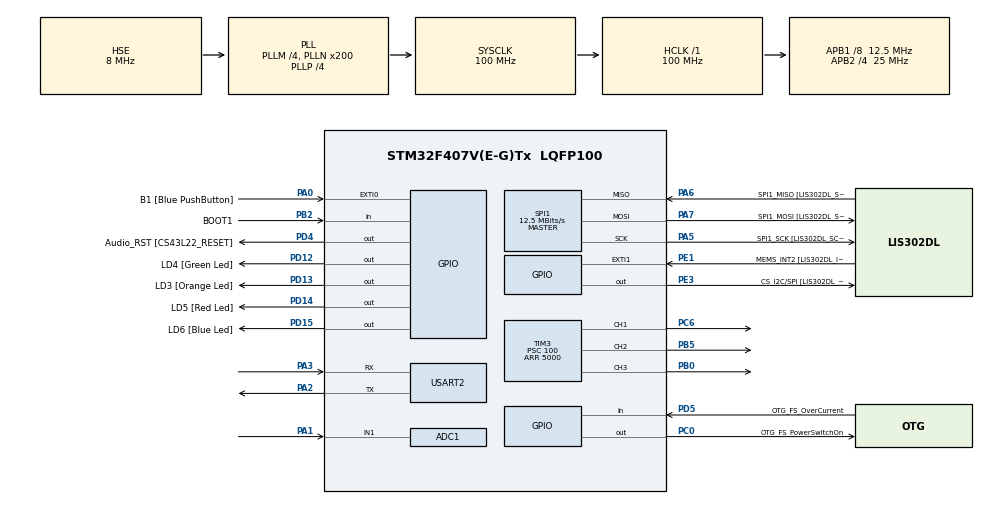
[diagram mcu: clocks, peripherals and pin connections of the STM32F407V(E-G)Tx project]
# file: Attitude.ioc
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ADC1.Channel-0\#ChannelRegularConversion=ADC_CHANNEL_1
ADC1.ClockPrescaler=ADC_CLOCK_SYNC_PCLK_DIV2
ADC1.ContinuousConvMode=DISABLE
ADC1.DMAContinuousRequests=DISABLE
ADC1.DataAlign=ADC_DATAALIGN_RIGHT
ADC1.DiscontinuousConvMode=DISABLE
ADC1.EOCSelection=ADC_EOC_SINGLE_CONV
ADC1.EnableAnalogWatchDog=false
ADC1.ExternalTrigConv=ADC_SOFTWARE_START
ADC1.ExternalTrigConvEdge=ADC_EXTERNALTRIGCONVEDGE_NONE
ADC1.InjNumberOfConversion=0
ADC1.NbrOfConversion=1
ADC1.NbrOfConversionFlag=1
ADC1.Rank-0\#ChannelRegularConversion=1
ADC1.Resolution=ADC_RESOLUTION_12B
ADC1.SamplingTime-0\#ChannelRegularConversion=ADC_SAMPLETIME_3CYCLES
ADC1.ScanConvMode=DISABLE
ADC1.master=1
FREERTOS.Tasks01=ReadSensor,2,1024,ReadSensorLoop,Default,NULL,Dynamic,NULL,NULL;AttitudeCal,1,1024,AttitudeCalLoop,Default,NULL,Dynamic,NULL,NULL;PrintData,-2,1024,PrintDataLoop,Default,NULL,Dynamic,NULL,NULL
Mcu.Family=STM32F4
Mcu.Name=STM32F407V(E-G)Tx
Mcu.Package=LQFP100
NVIC.PriorityGroup=NVIC_PRIORITYGROUP_4
PA0-WKUP.GPIO_Label=B1 [Blue PushButton]
PA0-WKUP.GPIO_ModeDefaultEXTI=GPIO_MODE_EVT_RISING
PA0-WKUP.GPIO_PuPd=GPIO_NOPULL
PA0-WKUP.Signal=GPXTI0
PA1.Signal=ADCx_IN1
PA10.GPIO_Label=OTG_FS_ID
PA10.GPIO_Mode=GPIO_MODE_AF_PP
PA10.GPIO_PuPd=GPIO_NOPULL
PA10.GPIO_Speed=GPIO_SPEED_FREQ_LOW
PA10.Signal=USB_OTG_FS_ID
PA11.GPIO_Label=OTG_FS_DM
PA11.GPIO_Mode=GPIO_MODE_AF_PP
PA11.GPIO_PuPd=GPIO_NOPULL
PA11.GPIO_Speed=GPIO_SPEED_FREQ_LOW
PA11.Signal=USB_OTG_FS_DM
PA12.GPIO_Label=OTG_FS_DP
PA12.GPIO_Mode=GPIO_MODE_AF_PP
PA12.GPIO_PuPd=GPIO_NOPULL
PA12.GPIO_Speed=GPIO_SPEED_FREQ_LOW
PA12.Signal=USB_OTG_FS_DP
PA13.GPIO_Label=SWDIO
PA13.Mode=Serial_Wire
PA13.Signal=SYS_JTMS-SWDIO
PA14.GPIO_Label=SWCLK
PA14.Mode=Serial_Wire
PA14.Signal=SYS_JTCK-SWCLK
PA2.Mode=Asynchronous
PA2.Signal=USART2_TX
PA3.Mode=Asynchronous
PA3.Signal=USART2_RX
PA4.GPIO_Label=I2S3_WS [CS43L22_LRCK]
PA4.GPIO_Mode=GPIO_MODE_AF_PP
PA4.GPIO_PuPd=GPIO_NOPULL
PA4.GPIO_Speed=GPIO_SPEED_FREQ_LOW
PA4.Signal=I2S3_WS
PA5.GPIO_Label=SPI1_SCK [LIS302DL_SCL/SPC]
PA5.GPIO_Mode=GPIO_MODE_AF_PP
PA5.GPIO_PuPd=GPIO_NOPULL
PA5.GPIO_Speed=GPIO_SPEED_FREQ_LOW
PA5.Mode=Full_Duplex_Master
PA5.Signal=SPI1_SCK
PA6.GPIO_Label=SPI1_MISO [LIS302DL_SDO]
PA6.GPIO_Mode=GPIO_MODE_AF_PP
PA6.GPIO_PuPd=GPIO_NOPULL
PA6.GPIO_Speed=GPIO_SPEED_FREQ_LOW
PA6.Mode=Full_Duplex_Master
PA6.Signal=SPI1_MISO
PA7.GPIO_Label=SPI1_MOSI [LIS302DL_SDA/SDI/SDO]
PA7.GPIO_Mode=GPIO_MODE_AF_PP
PA7.GPIO_PuPd=GPIO_NOPULL
PA7.GPIO_Speed=GPIO_SPEED_FREQ_LOW
PA7.Mode=Full_Duplex_Master
PA7.Signal=SPI1_MOSI
PA9.GPIO_Label=VBUS_FS
PA9.GPIO_Mode=GPIO_MODE_INPUT
PA9.GPIO_PuPd=GPIO_NOPULL
PA9.Signal=USB_OTG_FS_VBUS
PB0.Signal=S_TIM3_CH3
PB10.GPIO_Label=CLK_IN [MP45DT02_CLK]
PB10.GPIO_Mode=GPIO_MODE_AF_PP
PB10.GPIO_PuPd=GPIO_NOPULL
PB10.GPIO_Speed=GPIO_SPEED_FREQ_LOW
PB10.Signal=I2S2_CK
PB2.GPIO_Label=BOOT1
PB2.GPIO_Mode=GPIO_MODE_INPUT
PB2.GPIO_PuPd=GPIO_NOPULL
PB2.Signal=GPIO_Input
PB3.GPIO_Label=SWO
PB3.Signal=SYS_JTDO-SWO
PB5.Signal=S_TIM3_CH2
PC0.GPIO_Label=OTG_FS_PowerSwitchOn
PC0.GPIO_PuPd=GPIO_NOPULL
PC0.GPIO_Speed=GPIO_SPEED_FREQ_LOW
PC0.PinState=GPIO_PIN_SET
PC0.Signal=GPIO_Output
PC10.GPIO_Label=I2S3_SCK [CS43L22_SCLK]
PC10.GPIO_Mode=GPIO_MODE_AF_PP
PC10.GPIO_PuPd=GPIO_NOPULL
PC10.GPIO_Speed=GPIO_SPEED_FREQ_LOW
PC10.Signal=I2S3_CK
PC12.GPIO_Label=I2S3_SD [CS43L22_SDIN]
PC12.GPIO_Mode=GPIO_MODE_AF_PP
PC12.GPIO_PuPd=GPIO_NOPULL
PC12.GPIO_Speed=GPIO_SPEED_FREQ_LOW
PC12.Signal=I2S3_SD
PC14-OSC32_IN.GPIO_Label=PC14-OSC32_IN
PC14-OSC32_IN.Signal=RCC_OSC32_IN
PC15-OSC32_OUT.GPIO_Label=PC15-OSC32_OUT
PC15-OSC32_OUT.Signal=RCC_OSC32_OUT
PC3.GPIO_Label=PDM_OUT [MP45DT02_DOUT]
PC3.GPIO_Mode=GPIO_MODE_AF_PP
PC3.GPIO_PuPd=GPIO_NOPULL
PC3.GPIO_Speed=GPIO_SPEED_FREQ_LOW
PC3.Signal=I2S2_SD
PC6.Signal=S_TIM3_CH1
PC7.GPIO_Label=I2S3_MCK [CS43L22_MCLK]
PC7.GPIO_Mode=GPIO_MODE_AF_PP
PC7.GPIO_PuPd=GPIO_NOPULL
PC7.GPIO_Speed=GPIO_SPEED_FREQ_LOW
PC7.Signal=I2S3_MCK
PD12.GPIO_Label=LD4 [Green Led]
PD12.GPIO_PuPd=GPIO_NOPULL
PD12.GPIO_Speed=GPIO_SPEED_FREQ_LOW
PD12.Signal=GPIO_Output
PD13.GPIO_Label=LD3 [Orange Led]
PD13.GPIO_PuPd=GPIO_NOPULL
PD13.GPIO_Speed=GPIO_SPEED_FREQ_LOW
PD13.Signal=GPIO_Output
PD14.GPIO_Label=LD5 [Red Led]
PD14.GPIO_PuPd=GPIO_NOPULL
PD14.GPIO_Speed=GPIO_SPEED_FREQ_LOW
PD14.Signal=GPIO_Output
PD15.GPIO_Label=LD6 [Blue Led]
PD15.GPIO_PuPd=GPIO_NOPULL
PD15.GPIO_Speed=GPIO_SPEED_FREQ_LOW
PD15.Signal=GPIO_Output
PD4.GPIO_Label=Audio_RST [CS43L22_RESET]
PD4.GPIO_PuPd=GPIO_NOPULL
PD4.GPIO_Speed=GPIO_SPEED_FREQ_LOW
PD4.Signal=GPIO_Output
PD5.GPIO_Label=OTG_FS_OverCurrent
PD5.GPIO_Mode=GPIO_MODE_INPUT
PD5.GPIO_PuPd=GPIO_NOPULL
PD5.Signal=GPIO_Input
PE1.GPIO_Label=MEMS_INT2 [LIS302DL_INT2]
PE1.GPIO_ModeDefaultEXTI=GPIO_MODE_EVT_RISING
PE1.GPIO_PuPd=GPIO_NOPULL
PE1.Signal=GPXTI1
PE3.GPIO_Label=CS_I2C/SPI [LIS302DL_CS_I2C/SPI]
PE3.GPIO_PuPd=GPIO_NOPULL
PE3.GPIO_Speed=GPIO_SPEED_FREQ_LOW
PE3.Signal=GPIO_Output
PH0-OSC_IN.GPIO_Label=PH0-OSC_IN
PH0-OSC_IN.Mode=HSE-External-Oscillator
PH0-OSC_IN.Signal=RCC_OSC_IN
PH1-OSC_OUT.GPIO_Label=PH1-OSC_OUT
PH1-OSC_OUT.Mode=HSE-External-Oscillator
PH1-OSC_OUT.Signal=RCC_OSC_OUT
ProjectManager.HeapSize=0x200
ProjectManager.StackSize=0x400
ProjectManager.TargetToolchain=SW4STM32
RCC.48MHZClocksFreq_Value=57142857.14285714
RCC.AHBFreq_Value=100000000
RCC.APB1CLKDivider=RCC_HCLK_DIV8
RCC.APB1Freq_Value=12500000
RCC.APB1TimFreq_Value=25000000
RCC.APB2CLKDivider=RCC_HCLK_DIV4
RCC.APB2Freq_Value=25000000
RCC.APB2TimFreq_Value=50000000
RCC.CortexFreq_Value=100000000
RCC.HCLKFreq_Value=100000000
RCC.HSE_VALUE=8000000
RCC.HSI_VALUE=16000000
RCC.LSE_VALUE=32768
RCC.PLLM=4
RCC.PLLN=200
RCC.PLLP=RCC_PLLP_DIV4
RCC.PLLQ=7
RCC.PLLSourceVirtual=RCC_PLLSOURCE_HSE
RCC.SYSCLKFreq_VALUE=100000000
RCC.SYSCLKSource=RCC_SYSCLKSOURCE_PLLCLK
RCC.VCOOutputFreq_Value=400000000
SH.ADCx_IN1.0=ADC1_IN1,IN1
SH.S_TIM3_CH1.0=TIM3_CH1,PWM Generation1 CH1
SH.S_TIM3_CH2.0=TIM3_CH2,PWM Generation2 CH2
SH.S_TIM3_CH3.0=TIM3_CH3,PWM Generation3 CH3
SPI1.CalculateBaudRate=12.5 MBits/s
SPI1.Direction=SPI_DIRECTION_2LINES
SPI1.Mode=SPI_MODE_MASTER
SPI1.VirtualType=VM_MASTER
TIM3.Channel-PWM\ Generation1\ CH1=TIM_CHANNEL_1
TIM3.Channel-PWM\ Generation2\ CH2=TIM_CHANNEL_2
TIM3.Channel-PWM\ Generation3\ CH3=TIM_CHANNEL_3
TIM3.Period=5000
TIM3.Prescaler=100
TIM3.Pulse-PWM\ Generation1\ CH1=100
TIM3.Pulse-PWM\ Generation2\ CH2=100
TIM3.Pulse-PWM\ Generation3\ CH3=1000
USART2.VirtualMode=VM_ASYNC
VP_FREERTOS_VS_ENABLE.Mode=Enabled
VP_TIM3_VS_ClockSourceINT.Mode=Internal
board=STM32F4DISCOVERY

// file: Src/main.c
/**
  ******************************************************************************
  * File Name          : main.c
  * Description        : Main program body
  ******************************************************************************
  *
  * Copyright (c) 2017 STMicroelectronics International N.V.
  * All rights reserved.
  *
  * Redistribution and use in source and binary forms, with or without
  * modification, are permitted, provided that the following conditions are met:
  *
  * 1. Redistribution of source code must retain the above copyright notice,
  *    this list of conditions and the following disclaimer.
  * 2. Redistributions in binary form must reproduce the above copyright notice,
  *    this list of conditions and the following disclaimer in the documentation
  *    and/or other materials provided with the distribution.
  * 3. Neither the name of STMicroelectronics nor the names of other
  *    contributors to this software may be used to endorse or promote products
  *    derived from this software without specific written permission.
  * 4. This software, including modifications and/or derivative works of this
  *    software, must execute solely and exclusively on microcontroller or
  *    microprocessor devices manufactured by or for STMicroelectronics.
  * 5. Redistribution and use of this software other than as permitted under
  *    this license is void and will automatically terminate your rights under
  *    this license.
  *
  * THIS SOFTWARE IS PROVIDED BY STMICROELECTRONICS AND CONTRIBUTORS "AS IS"
  * AND ANY EXPRESS, IMPLIED OR STATUTORY WARRANTIES, INCLUDING, BUT NOT
  * LIMITED TO, THE IMPLIED WARRANTIES OF MERCHANTABILITY, FITNESS FOR A
  * PARTICULAR PURPOSE AND NON-INFRINGEMENT OF THIRD PARTY INTELLECTUAL PROPERTY
  * RIGHTS ARE DISCLAIMED TO THE FULLEST EXTENT PERMITTED BY LAW. IN NO EVENT
  * SHALL STMICROELECTRONICS OR CONTRIBUTORS BE LIABLE FOR ANY DIRECT, INDIRECT,
  * INCIDENTAL, SPECIAL, EXEMPLARY, OR CONSEQUENTIAL DAMAGES (INCLUDING, BUT NOT
  * LIMITED TO, PROCUREMENT OF SUBSTITUTE GOODS OR SERVICES; LOSS OF USE, DATA,
  * OR PROFITS; OR BUSINESS INTERRUPTION) HOWEVER CAUSED AND ON ANY THEORY OF
  * LIABILITY, WHETHER IN CONTRACT, STRICT LIABILITY, OR TORT (INCLUDING
  * NEGLIGENCE OR OTHERWISE) ARISING IN ANY WAY OUT OF THE USE OF THIS SOFTWARE,
  * EVEN IF ADVISED OF THE POSSIBILITY OF SUCH DAMAGE.
  *
  ******************************************************************************
  */
#include "main.h"
#include "stm32f4xx_hal.h"
#include "cmsis_os.h"

/* USER CODE BEGIN Includes */
#include <string.h>
#include <stdio.h>
#include <math.h>
#include "matrix.h"
#include "I2C_Software_Master.h"
/* USER CODE END Includes */

ADC_HandleTypeDef hadc1;

SPI_HandleTypeDef hspi1;

TIM_HandleTypeDef htim3;

UART_HandleTypeDef huart2;

osThreadId ReadSensorHandle;
osThreadId AttitudeCalHandle;
osThreadId PrintDataHandle;

/* USER CODE BEGIN PV */
/* Private variables ---------------------------------------------------------*/

/* USER CODE END PV */

void SystemClock_Config(void);
void Error_Handler(void);
static void MX_GPIO_Init(void);
static void MX_SPI1_Init(void);
static void MX_USART2_UART_Init(void);
static void MX_ADC1_Init(void);
static void MX_TIM3_Init(void);
void ReadSensorLoop(void const * argument);
void AttitudeCalLoop(void const * argument);
void PrintDataLoop(void const * argument);

void HAL_TIM_MspPostInit(TIM_HandleTypeDef *htim);

/* USER CODE BEGIN PFP */
/* Private function prototypes -----------------------------------------------*/

/* USER CODE END PFP */

/* USER CODE BEGIN 0 */
void GyroInit();
void GyroWriteOne(uint8_t address, uint8_t data);
void GyroReadData(uint8_t address, int readAmount, uint8_t *databuf);
void AccInit();
void user_pwm_setvalue(uint16_t value, uint32_t ch);

int8_t u2txbuf[100];
#define print2UART(...) sprintf(u2txbuf, __VA_ARGS__);HAL_UART_Transmit(&huart2, u2txbuf, strlen((char *)u2txbuf), 1000);
#define AccAddress 0x32

char DataIsReady = 0;
uint8_t GyroRawData[6], AccRawData[6];
int16_t GyroOffset[3]={0},AccOffset[3]={0};
uint32_t time_s,time;
float Roll=.0f, Pitch=.0f, Yaw=.0f;
Matrix(GyroDCM,3,3);
Matrix(AccDCM,3,3);
typedef union _f2b{
	float F;
	uint8_t b[4];
}F2B;
/* USER CODE END 0 */

int main(void)
{

  /* MCU Configuration----------------------------------------------------------*/

  /* Reset of all peripherals, Initializes the Flash interface and the Systick. */
  HAL_Init();

  /* Configure the system clock */
  SystemClock_Config();

  /* Initialize all configured peripherals */
  MX_GPIO_Init();
  MX_SPI1_Init();
  MX_USART2_UART_Init();
  MX_ADC1_Init();
  MX_TIM3_Init();

  /* USER CODE BEGIN 2 */
  I2C_SoftWare_Master_Init();
  HAL_GPIO_WritePin(GPIOD, LD4_Pin, GPIO_PIN_RESET);
  HAL_Delay(500);
  GyroInit();
  AccInit();
  eye_Matrix(GyroDCM, 3);
  HAL_GPIO_WritePin(GPIOD, LD4_Pin, GPIO_PIN_SET);
  /* USER CODE END 2 */

  /* Create the thread(s) */
  /* definition and creation of ReadSensor */
  osThreadDef(ReadSensor, ReadSensorLoop, osPriorityHigh, 0, 1024);
  ReadSensorHandle = osThreadCreate(osThread(ReadSensor), NULL);

  /* definition and creation of AttitudeCal */
  osThreadDef(AttitudeCal, AttitudeCalLoop, osPriorityAboveNormal, 0, 1024);
  AttitudeCalHandle = osThreadCreate(osThread(AttitudeCal), NULL);

  /* definition and creation of PrintData */
  osThreadDef(PrintData, PrintDataLoop, osPriorityLow, 0, 1024);
  PrintDataHandle = osThreadCreate(osThread(PrintData), NULL);

  /* Start scheduler */
  osKernelStart();

  /* We should never get here as control is now taken by the scheduler */

  /* Infinite loop */
  while (1)
  {

  }

}

/** System Clock Configuration
*/
void SystemClock_Config(void)
{

  RCC_OscInitTypeDef RCC_OscInitStruct;
  RCC_ClkInitTypeDef RCC_ClkInitStruct;

    /**Configure the main internal regulator output voltage
    */
  __HAL_RCC_PWR_CLK_ENABLE();

  __HAL_PWR_VOLTAGESCALING_CONFIG(PWR_REGULATOR_VOLTAGE_SCALE1);

    /**Initializes the CPU, AHB and APB busses clocks
    */
  RCC_OscInitStruct.OscillatorType = RCC_OSCILLATORTYPE_HSE;
  RCC_OscInitStruct.HSEState = RCC_HSE_ON;
  RCC_OscInitStruct.PLL.PLLState = RCC_PLL_ON;
  RCC_OscInitStruct.PLL.PLLSource = RCC_PLLSOURCE_HSE;
  RCC_OscInitStruct.PLL.PLLM = 4;
  RCC_OscInitStruct.PLL.PLLN = 200;
  RCC_OscInitStruct.PLL.PLLP = RCC_PLLP_DIV4;
  RCC_OscInitStruct.PLL.PLLQ = 7;
  if (HAL_RCC_OscConfig(&RCC_OscInitStruct) != HAL_OK)
  {
    Error_Handler();
  }

    /**Initializes the CPU, AHB and APB busses clocks
    */
  RCC_ClkInitStruct.ClockType = RCC_CLOCKTYPE_HCLK|RCC_CLOCKTYPE_SYSCLK
                              |RCC_CLOCKTYPE_PCLK1|RCC_CLOCKTYPE_PCLK2;
  RCC_ClkInitStruct.SYSCLKSource = RCC_SYSCLKSOURCE_PLLCLK;
  RCC_ClkInitStruct.AHBCLKDivider = RCC_SYSCLK_DIV1;
  RCC_ClkInitStruct.APB1CLKDivider = RCC_HCLK_DIV8;
  RCC_ClkInitStruct.APB2CLKDivider = RCC_HCLK_DIV4;

  if (HAL_RCC_ClockConfig(&RCC_ClkInitStruct, FLASH_LATENCY_3) != HAL_OK)
  {
    Error_Handler();
  }

    /**Configure the Systick interrupt time
    */
  HAL_SYSTICK_Config(HAL_RCC_GetHCLKFreq()/1000);

    /**Configure the Systick
    */
  HAL_SYSTICK_CLKSourceConfig(SYSTICK_CLKSOURCE_HCLK);

  /* SysTick_IRQn interrupt configuration */
  HAL_NVIC_SetPriority(SysTick_IRQn, 15, 0);
}

/* ADC1 init function */
static void MX_ADC1_Init(void)
{

  ADC_ChannelConfTypeDef sConfig;

    /**Configure the global features of the ADC (Clock, Resolution, Data Alignment and number of conversion)
    */
  hadc1.Instance = ADC1;
  hadc1.Init.ClockPrescaler = ADC_CLOCK_SYNC_PCLK_DIV2;
  hadc1.Init.Resolution = ADC_RESOLUTION_12B;
  hadc1.Init.ScanConvMode = DISABLE;
  hadc1.Init.ContinuousConvMode = DISABLE;
  hadc1.Init.DiscontinuousConvMode = DISABLE;
  hadc1.Init.ExternalTrigConvEdge = ADC_EXTERNALTRIGCONVEDGE_NONE;
  hadc1.Init.ExternalTrigConv = ADC_SOFTWARE_START;
  hadc1.Init.DataAlign = ADC_DATAALIGN_RIGHT;
  hadc1.Init.NbrOfConversion = 1;
  hadc1.Init.DMAContinuousRequests = DISABLE;
  hadc1.Init.EOCSelection = ADC_EOC_SINGLE_CONV;
  if (HAL_ADC_Init(&hadc1) != HAL_OK)
  {
    Error_Handler();
  }

    /**Configure for the selected ADC regular channel its corresponding rank in the sequencer and its sample time.
    */
  sConfig.Channel = ADC_CHANNEL_1;
  sConfig.Rank = 1;
  sConfig.SamplingTime = ADC_SAMPLETIME_3CYCLES;
  if (HAL_ADC_ConfigChannel(&hadc1, &sConfig) != HAL_OK)
  {
    Error_Handler();
  }

}

/* SPI1 init function */
static void MX_SPI1_Init(void)
{

  hspi1.Instance = SPI1;
  hspi1.Init.Mode = SPI_MODE_MASTER;
  hspi1.Init.Direction = SPI_DIRECTION_2LINES;
  hspi1.Init.DataSize = SPI_DATASIZE_8BIT;
  hspi1.Init.CLKPolarity = SPI_POLARITY_LOW;
  hspi1.Init.CLKPhase = SPI_PHASE_1EDGE;
  hspi1.Init.NSS = SPI_NSS_SOFT;
  hspi1.Init.BaudRatePrescaler = SPI_BAUDRATEPRESCALER_2;
  hspi1.Init.FirstBit = SPI_FIRSTBIT_MSB;
  hspi1.Init.TIMode = SPI_TIMODE_DISABLE;
  hspi1.Init.CRCCalculation = SPI_CRCCALCULATION_DISABLE;
  hspi1.Init.CRCPolynomial = 10;
  if (HAL_SPI_Init(&hspi1) != HAL_OK)
  {
    Error_Handler();
  }

}

/* TIM3 init function */
static void MX_TIM3_Init(void)
{

  TIM_ClockConfigTypeDef sClockSourceConfig;
  TIM_MasterConfigTypeDef sMasterConfig;
  TIM_OC_InitTypeDef sConfigOC;

  htim3.Instance = TIM3;
  htim3.Init.Prescaler = 100;
  htim3.Init.CounterMode = TIM_COUNTERMODE_UP;
  htim3.Init.Period = 5000;
  htim3.Init.ClockDivision = TIM_CLOCKDIVISION_DIV1;
  if (HAL_TIM_Base_Init(&htim3) != HAL_OK)
  {
    Error_Handler();
  }

  sClockSourceConfig.ClockSource = TIM_CLOCKSOURCE_INTERNAL;
  if (HAL_TIM_ConfigClockSource(&htim3, &sClockSourceConfig) != HAL_OK)
  {
    Error_Handler();
  }

  if (HAL_TIM_PWM_Init(&htim3) != HAL_OK)
  {
    Error_Handler();
  }

  sMasterConfig.MasterOutputTrigger = TIM_TRGO_RESET;
  sMasterConfig.MasterSlaveMode = TIM_MASTERSLAVEMODE_DISABLE;
  if (HAL_TIMEx_MasterConfigSynchronization(&htim3, &sMasterConfig) != HAL_OK)
  {
    Error_Handler();
  }

  sConfigOC.OCMode = TIM_OCMODE_PWM1;
  sConfigOC.Pulse = 1000;
  sConfigOC.OCPolarity = TIM_OCPOLARITY_HIGH;
  sConfigOC.OCFastMode = TIM_OCFAST_DISABLE;
  if (HAL_TIM_PWM_ConfigChannel(&htim3, &sConfigOC, TIM_CHANNEL_1) != HAL_OK)
  {
    Error_Handler();
  }

  sConfigOC.Pulse = 100;
  if (HAL_TIM_PWM_ConfigChannel(&htim3, &sConfigOC, TIM_CHANNEL_2) != HAL_OK)
  {
    Error_Handler();
  }

  sConfigOC.Pulse = 1000;
  if (HAL_TIM_PWM_ConfigChannel(&htim3, &sConfigOC, TIM_CHANNEL_3) != HAL_OK)
  {
    Error_Handler();
  }

  HAL_TIM_MspPostInit(&htim3);

}

/* USART2 init function */
static void MX_USART2_UART_Init(void)
{

  huart2.Instance = USART2;
  huart2.Init.BaudRate = 115200;
  huart2.Init.WordLength = UART_WORDLENGTH_8B;
  huart2.Init.StopBits = UART_STOPBITS_1;
  huart2.Init.Parity = UART_PARITY_NONE;
  huart2.Init.Mode = UART_MODE_TX_RX;
  huart2.Init.HwFlowCtl = UART_HWCONTROL_NONE;
  huart2.Init.OverSampling = UART_OVERSAMPLING_16;
  if (HAL_UART_Init(&huart2) != HAL_OK)
  {
    Error_Handler();
  }

}

/** Configure pins as
        * Analog
        * Input
        * Output
        * EVENT_OUT
        * EXTI
     PC3   ------> I2S2_SD
     PA4   ------> I2S3_WS
     PB10   ------> I2S2_CK
     PC7   ------> I2S3_MCK
     PA9   ------> USB_OTG_FS_VBUS
     PA10   ------> USB_OTG_FS_ID
     PA11   ------> USB_OTG_FS_DM
     PA12   ------> USB_OTG_FS_DP
     PC10   ------> I2S3_CK
     PC12   ------> I2S3_SD
*/
static void MX_GPIO_Init(void)
{

  GPIO_InitTypeDef GPIO_InitStruct;

  /* GPIO Ports Clock Enable */
  __HAL_RCC_GPIOE_CLK_ENABLE();
  __HAL_RCC_GPIOC_CLK_ENABLE();
  __HAL_RCC_GPIOH_CLK_ENABLE();
  __HAL_RCC_GPIOA_CLK_ENABLE();
  __HAL_RCC_GPIOB_CLK_ENABLE();
  __HAL_RCC_GPIOD_CLK_ENABLE();

  /*Configure GPIO pin Output Level */
  HAL_GPIO_WritePin(CS_I2C_SPI_GPIO_Port, CS_I2C_SPI_Pin, GPIO_PIN_RESET);

  /*Configure GPIO pin Output Level */
  HAL_GPIO_WritePin(OTG_FS_PowerSwitchOn_GPIO_Port, OTG_FS_PowerSwitchOn_Pin, GPIO_PIN_SET);

  /*Configure GPIO pin Output Level */
  HAL_GPIO_WritePin(GPIOD, LD4_Pin|LD3_Pin|LD5_Pin|LD6_Pin
                          |Audio_RST_Pin, GPIO_PIN_RESET);

  /*Configure GPIO pin : CS_I2C_SPI_Pin */
  GPIO_InitStruct.Pin = CS_I2C_SPI_Pin;
  GPIO_InitStruct.Mode = GPIO_MODE_OUTPUT_PP;
  GPIO_InitStruct.Pull = GPIO_NOPULL;
  GPIO_InitStruct.Speed = GPIO_SPEED_FREQ_LOW;
  HAL_GPIO_Init(CS_I2C_SPI_GPIO_Port, &GPIO_InitStruct);

  /*Configure GPIO pin : OTG_FS_PowerSwitchOn_Pin */
  GPIO_InitStruct.Pin = OTG_FS_PowerSwitchOn_Pin;
  GPIO_InitStruct.Mode = GPIO_MODE_OUTPUT_PP;
  GPIO_InitStruct.Pull = GPIO_NOPULL;
  GPIO_InitStruct.Speed = GPIO_SPEED_FREQ_LOW;
  HAL_GPIO_Init(OTG_FS_PowerSwitchOn_GPIO_Port, &GPIO_InitStruct);

  /*Configure GPIO pin : PDM_OUT_Pin */
  GPIO_InitStruct.Pin = PDM_OUT_Pin;
  GPIO_InitStruct.Mode = GPIO_MODE_AF_PP;
  GPIO_InitStruct.Pull = GPIO_NOPULL;
  GPIO_InitStruct.Speed = GPIO_SPEED_FREQ_LOW;
  GPIO_InitStruct.Alternate = GPIO_AF5_SPI2;
  HAL_GPIO_Init(PDM_OUT_GPIO_Port, &GPIO_InitStruct);

  /*Configure GPIO pin : B1_Pin */
  GPIO_InitStruct.Pin = B1_Pin;
  GPIO_InitStruct.Mode = GPIO_MODE_EVT_RISING;
  GPIO_InitStruct.Pull = GPIO_NOPULL;
  HAL_GPIO_Init(B1_GPIO_Port, &GPIO_InitStruct);

  /*Configure GPIO pin : I2S3_WS_Pin */
  GPIO_InitStruct.Pin = I2S3_WS_Pin;
  GPIO_InitStruct.Mode = GPIO_MODE_AF_PP;
  GPIO_InitStruct.Pull = GPIO_NOPULL;
  GPIO_InitStruct.Speed = GPIO_SPEED_FREQ_LOW;
  GPIO_InitStruct.Alternate = GPIO_AF6_SPI3;
  HAL_GPIO_Init(I2S3_WS_GPIO_Port, &GPIO_InitStruct);

  /*Configure GPIO pin : BOOT1_Pin */
  GPIO_InitStruct.Pin = BOOT1_Pin;
  GPIO_InitStruct.Mode = GPIO_MODE_INPUT;
  GPIO_InitStruct.Pull = GPIO_NOPULL;
  HAL_GPIO_Init(BOOT1_GPIO_Port, &GPIO_InitStruct);

  /*Configure GPIO pin : CLK_IN_Pin */
  GPIO_InitStruct.Pin = CLK_IN_Pin;
  GPIO_InitStruct.Mode = GPIO_MODE_AF_PP;
  GPIO_InitStruct.Pull = GPIO_NOPULL;
  GPIO_InitStruct.Speed = GPIO_SPEED_FREQ_LOW;
  GPIO_InitStruct.Alternate = GPIO_AF5_SPI2;
  HAL_GPIO_Init(CLK_IN_GPIO_Port, &GPIO_InitStruct);

  /*Configure GPIO pins : LD4_Pin LD3_Pin LD5_Pin LD6_Pin
                           Audio_RST_Pin */
  GPIO_InitStruct.Pin = LD4_Pin|LD3_Pin|LD5_Pin|LD6_Pin
                          |Audio_RST_Pin;
  GPIO_InitStruct.Mode = GPIO_MODE_OUTPUT_PP;
  GPIO_InitStruct.Pull = GPIO_NOPULL;
  GPIO_InitStruct.Speed = GPIO_SPEED_FREQ_LOW;
  HAL_GPIO_Init(GPIOD, &GPIO_InitStruct);

  /*Configure GPIO pins : I2S3_MCK_Pin I2S3_SCK_Pin I2S3_SD_Pin */
  GPIO_InitStruct.Pin = I2S3_MCK_Pin|I2S3_SCK_Pin|I2S3_SD_Pin;
  GPIO_InitStruct.Mode = GPIO_MODE_AF_PP;
  GPIO_InitStruct.Pull = GPIO_NOPULL;
  GPIO_InitStruct.Speed = GPIO_SPEED_FREQ_LOW;
  GPIO_InitStruct.Alternate = GPIO_AF6_SPI3;
  HAL_GPIO_Init(GPIOC, &GPIO_InitStruct);

  /*Configure GPIO pin : VBUS_FS_Pin */
  GPIO_InitStruct.Pin = VBUS_FS_Pin;
  GPIO_InitStruct.Mode = GPIO_MODE_INPUT;
  GPIO_InitStruct.Pull = GPIO_NOPULL;
  HAL_GPIO_Init(VBUS_FS_GPIO_Port, &GPIO_InitStruct);

  /*Configure GPIO pins : OTG_FS_ID_Pin OTG_FS_DM_Pin OTG_FS_DP_Pin */
  GPIO_InitStruct.Pin = OTG_FS_ID_Pin|OTG_FS_DM_Pin|OTG_FS_DP_Pin;
  GPIO_InitStruct.Mode = GPIO_MODE_AF_PP;
  GPIO_InitStruct.Pull = GPIO_NOPULL;
  GPIO_InitStruct.Speed = GPIO_SPEED_FREQ_LOW;
  GPIO_InitStruct.Alternate = GPIO_AF10_OTG_FS;
  HAL_GPIO_Init(GPIOA, &GPIO_InitStruct);

  /*Configure GPIO pin : OTG_FS_OverCurrent_Pin */
  GPIO_InitStruct.Pin = OTG_FS_OverCurrent_Pin;
  GPIO_InitStruct.Mode = GPIO_MODE_INPUT;
  GPIO_InitStruct.Pull = GPIO_NOPULL;
  HAL_GPIO_Init(OTG_FS_OverCurrent_GPIO_Port, &GPIO_InitStruct);

  /*Configure GPIO pin : MEMS_INT2_Pin */
  GPIO_InitStruct.Pin = MEMS_INT2_Pin;
  GPIO_InitStruct.Mode = GPIO_MODE_EVT_RISING;
  GPIO_InitStruct.Pull = GPIO_NOPULL;
  HAL_GPIO_Init(MEMS_INT2_GPIO_Port, &GPIO_InitStruct);

}

/* USER CODE BEGIN 4 */
void GyroInit(){
	uint8_t RawData[6];
	int16_t temp16[3];
	GyroWriteOne(0x20, 0x0F);
	for(int i=0;i<100;i++){
		GyroReadData(0x28+0xC0, 6, RawData);
		temp16[0] = (((int16_t)RawData[1]) <<8 ) + RawData[0];
		temp16[1] = (((int16_t)RawData[3]) <<8 ) + RawData[2];
		temp16[2] = (((int16_t)RawData[5]) <<8 ) + RawData[4];

		GyroOffset[0] += temp16[0];
		GyroOffset[1] += temp16[1];
		GyroOffset[2] += temp16[2];

		HAL_Delay(5);
	}
	for(int i=0;i<3;i++)
		GyroOffset[i] /=  100;
}

void GyroWriteOne(uint8_t address, uint8_t data){
	HAL_GPIO_WritePin(GPIOE,GPIO_PIN_3,GPIO_PIN_RESET);
	HAL_SPI_Transmit(&hspi1, &address, 1, 50);
	HAL_SPI_Transmit(&hspi1, &data, 1, 50);
	HAL_GPIO_WritePin(GPIOE,GPIO_PIN_3,GPIO_PIN_SET);
}

void GyroReadData(uint8_t address, int readAmount, uint8_t *databuf){
	HAL_GPIO_WritePin(GPIOE,GPIO_PIN_3,GPIO_PIN_RESET);
	HAL_SPI_Transmit(&hspi1, &address, 1, 50);
	HAL_SPI_Receive(&hspi1, databuf, readAmount, 50);
	HAL_GPIO_WritePin(GPIOE,GPIO_PIN_3,GPIO_PIN_SET);
}

void AccInit(){
	uint8_t RawData[6];
	//Turn on the Acc by send 0x27 to address 0x20
	uint8_t data = 0x27;
	I2C_SoftWare_Master_Write(AccAddress, 0x20, &data, 1);

	//average first 50 data to get offset
	for(int i=0;i<100;i++){
		uint8_t address = 0x28;
		for(int j=0;j<6;j++){
			I2C_SoftWare_Master_Read(AccAddress, address, &RawData[j], 1);
			address++;
		}

		AccOffset[0] += (((int16_t)RawData[1])<<8)+RawData[0];
		AccOffset[1] += (((int16_t)RawData[3])<<8)+RawData[2];
		AccOffset[2] += ((((int16_t)RawData[5])<<8)+RawData[4] - 16384);
		//z axis have gravity 1g = 32767/2

		HAL_Delay(5);
	}
	for(int i=0;i<3;i++)
			AccOffset[i] /=  100;
}

void user_pwm_setvalue(uint16_t value, uint32_t ch){
	TIM_OC_InitTypeDef sConfigOC;

	sConfigOC.OCMode = TIM_OCMODE_PWM1;
	sConfigOC.Pulse = value;
	sConfigOC.OCPolarity = TIM_OCPOLARITY_HIGH;
	sConfigOC.OCFastMode = TIM_OCFAST_DISABLE;
	HAL_TIM_PWM_ConfigChannel(&htim3, &sConfigOC, ch);
	HAL_TIM_PWM_Start(&htim3, ch);
}

/* USER CODE END 4 */

/* ReadSensorLoop function */
void ReadSensorLoop(void const * argument)
{

  /* USER CODE BEGIN 5 */
  /* Infinite loop */
  for(;;)
  {
//	time_s = xTaskGetTickCount();
	GyroReadData(0x28+0xC0, 6, GyroRawData);

	uint8_t address = 0x28;
	for(int i=0;i<6;i++){
		I2C_SoftWare_Master_Read(AccAddress, address, &AccRawData[i], 1);
		address++;
	}

	osDelay(1);
//	time_e = xTaskGetTickCount();
//	time = time_e - time_s;
  }
  /* USER CODE END 5 */
}

/* AttitudeCalLoop function */
void AttitudeCalLoop(void const * argument)
{
  /* USER CODE BEGIN AttitudeCalLoop */
  /* Infinite loop */
  int16_t GyroData[3], AccData[3];
  float GyroOmega[3],Gravity[3],AccRoll,AccPitch;
  for(;;)
  {
//	time_s = xTaskGetTickCount();
		GyroData[0] = (((int16_t)GyroRawData[1]) <<8 ) + GyroRawData[0] - GyroOffset[0];
		GyroData[1] = (((int16_t)GyroRawData[3]) <<8 ) + GyroRawData[2] - GyroOffset[1];
		GyroData[2] = (((int16_t)GyroRawData[5]) <<8 ) + GyroRawData[4] - GyroOffset[2];

		for(int i=0;i<3;i++)
			GyroOmega[i] = GyroData[i] * 250.0 / 32767.0;

		float dt = 0.014;
		gyroRot(GyroDCM, GyroOmega[0] * dt, GyroOmega[1] * dt, GyroOmega[2] * dt);

		AccData[0] = (((int16_t)AccRawData[1]) << 8) + AccRawData[0] - AccOffset[0];
		AccData[1] = (((int16_t)AccRawData[3]) << 8) + AccRawData[2] - AccOffset[1];
		AccData[2] = (((int16_t)AccRawData[5]) << 8) + AccRawData[4] - AccOffset[2];

		for(int i=0;i<3;i++)
			Gravity[i] = (((float)AccData[i]) / 32767.0) * 2.0;

		AccPitch = atan2(Gravity[0],sqrt(Gravity[1]*Gravity[1] + Gravity[2]*Gravity[2])) * 180.0 / M_PI;
		if(Gravity[2] > 0)
			AccRoll = atan2(-1.0f * Gravity[1], sqrt(Gravity[2]*Gravity[2] + 0.1f * Gravity[0]*Gravity[0])) * 180.0 / M_PI;
		else
			AccRoll = atan2(-1.0f * Gravity[1], -1.0f * sqrt(Gravity[2]*Gravity[2] + 0.01f * Gravity[0]*Gravity[0])) * 180.0 / M_PI;

		eulRot(AccDCM, AccRoll, AccPitch, Yaw);

		float a = 0.98;
		for(int i=0;i<9;i++)
			GyroDCM[i] = GyroDCM[i] * a + AccDCM[i] * (1 - a);

    osDelay(10);
//    time = xTaskGetTickCount() - time_s;
  }
  /* USER CODE END AttitudeCalLoop */
}

/* PrintDataLoop function */
void PrintDataLoop(void const * argument)
{
  /* USER CODE BEGIN PrintDataLoop */
	uint16_t pwmDuty;
  /* Infinite loop */
  for(;;)
  {
	mat2ang(GyroDCM, &Roll, &Pitch, &Yaw);
//	mat2ang(AccDCM, &Roll, &Pitch, &Yaw);

	F2B Roll2Send, Pitch2Send, Yaw2Send;
	Roll2Send.F = Roll;
	Pitch2Send.F = Pitch;
	Yaw2Send.F = Yaw;

	uint8_t dataLength = 16;
	uint8_t DataToSend[dataLength];
	for(int i=3;i<7;i++)
		DataToSend[i] = Roll2Send.b[i-3];
	for(int i=7;i<11;i++)
		DataToSend[i] = Pitch2Send.b[i-7];
	for(int i=11;i<15;i++)
			DataToSend[i] = Yaw2Send.b[i-11];
	DataToSend[0] = '^';
	DataToSend[1] = dataLength;
	DataToSend[2] = 'A';

	DataToSend[dataLength-1] = 0;
	for(int i=2;i<dataLength-1;i++)
		DataToSend[dataLength-1] += DataToSend[i];

	HAL_UART_Transmit(&huart2, DataToSend, dataLength, 1000);

	pwmDuty = (uint16_t)(((Roll + 45.0) / 90.0) * 400.0 + 200.0);
	if(pwmDuty > 600)
		pwmDuty = 600;
	else if(pwmDuty < 200)
		pwmDuty = 200;
	user_pwm_setvalue(pwmDuty, TIM_CHANNEL_2);
	pwmDuty = (uint16_t)(((Pitch + 45.0) / 90.0) * 400.0 + 200.0);
		if(pwmDuty > 600)
			pwmDuty = 600;
		else if(pwmDuty < 200)
			pwmDuty = 200;
	user_pwm_setvalue(pwmDuty, TIM_CHANNEL_3);

	HAL_ADC_Start(&hadc1);
	HAL_ADC_PollForConversion(&hadc1, 50);
	if(HAL_IS_BIT_SET(HAL_ADC_GetState(&hadc1), HAL_ADC_STATE_REG_EOC))
	{
		uint16_t value = HAL_ADC_GetValue(&hadc1);
		pwmDuty = (uint16_t)((float)(value-200)/13.0 + 200.0);
		if(pwmDuty > 500.0)
			pwmDuty = 500.0;
		else if(pwmDuty < 200.0)
			pwmDuty = 200.0;
	}
	user_pwm_setvalue(pwmDuty, TIM_CHANNEL_1);
    osDelay(100);
  }
  /* USER CODE END PrintDataLoop */
}

void Error_Handler(void)
{
  while(1)
  {
  }
}

/************************ (C) COPYRIGHT STMicroelectronics *****END OF FILE****/
